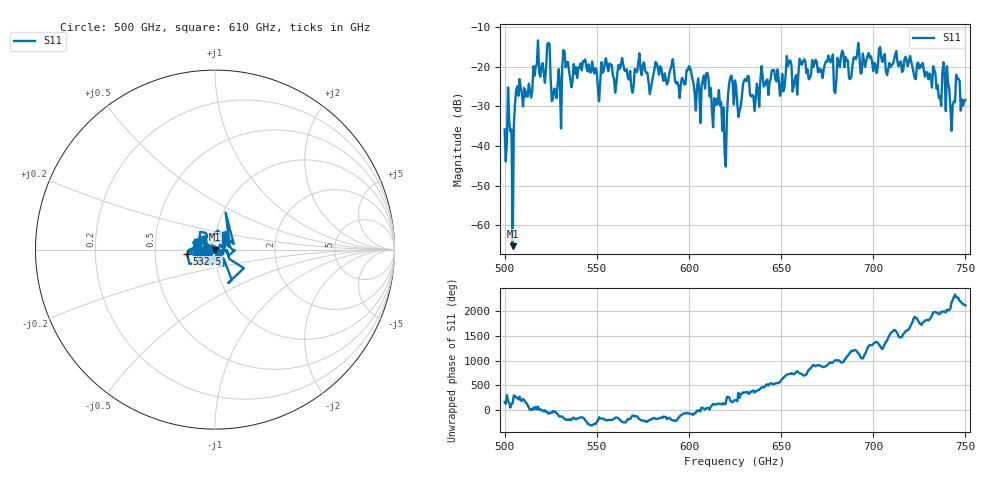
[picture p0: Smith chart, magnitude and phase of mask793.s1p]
!Created with skrf (http://scikit-rf.org).
# GHz S MA R 50.0
!freq magS11 angS11
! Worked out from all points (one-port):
!   401 points, 500 GHz to 750 GHz, reference 50 ohm
!   lowest |S11| = -65.2 dB at 504.4 GHz (marker M1), VSWR 1.00, Z = 50 + j0.03 ohm
!   |S11| at or under -10 dB: start of sweep to end of sweep
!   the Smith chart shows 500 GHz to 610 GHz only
!   S11 on the Smith chart (normalised r, x): 500 GHz: 0.97, +0.01; 532.5 GHz: 0.73, -0.03; 610 GHz: 1.11, +0.14
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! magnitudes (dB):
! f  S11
! 500 GHz  -35.8
! 502.5 GHz  -33.8
! 504.4 GHz  -65.2
! 506.9 GHz  -24.9
! 513.8 GHz  -26.1
! 516.9 GHz  -20.0
! 523.8 GHz  -14.0
! 526.9 GHz  -25.5
! 531.2 GHz  -20.4
! 532.5 GHz  -16.1
! 550.6 GHz  -25.6
! 562.5 GHz  -20.6
! 579.4 GHz  -25.4
! 590.6 GHz  -19.5
! 593.8 GHz  -23.8
! 610 GHz  -21.5
! 617.5 GHz  -28.9
! 619.4 GHz  -41.7
! 622.5 GHz  -22.6
! 625 GHz  -23.4
! 656.2 GHz  -26.2
! 687.5 GHz  -23.1
! 718.8 GHz  -19.8
! 735.6 GHz  -27.9
! 738.8 GHz  -21.8
! 743.1 GHz  -29.7
! 745.6 GHz  -23.1
! 750 GHz  -28.4
